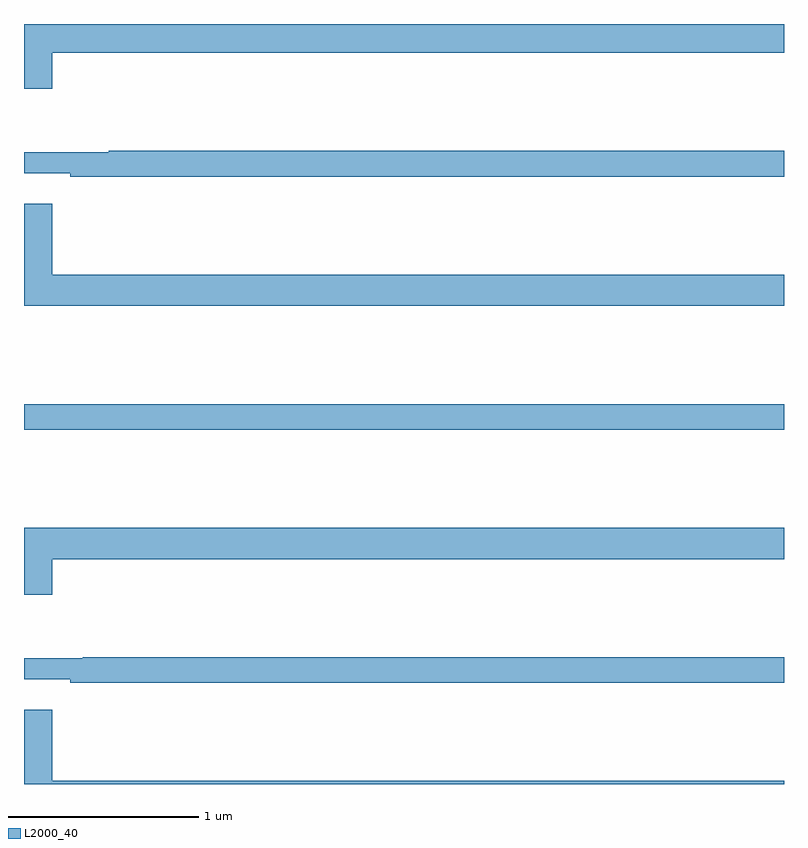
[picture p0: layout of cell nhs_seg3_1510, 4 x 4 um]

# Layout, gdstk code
import gdstk
lib = gdstk.Library(unit=1e-6, precision=1e-09)
def R(c, l, rs):  # rectangles x0, y0, x1, y1
    for r in rs: c.add(gdstk.rectangle(r[:2], r[2:], *l))
def P(c, l, *ps):  # polygons
    for p in ps: c.add(gdstk.Polygon(p, *l))
L2000_40 = (2000, 40)

nhs_seg3_1510 = lib.new_cell('nhs_seg3_1510')
R(nhs_seg3_1510, L2000_40, [(189,700.264,193,700.4)])
P(nhs_seg3_1510, L2000_40, [(189.148,702.248),(193,702.248),(193,702.4),(189,702.4),(189,702.06),(189.148,702.06)],
  [(193,701.732),(189.445,701.732),(189.445,701.725),(189,701.725),(189,701.615),(189.244,701.615),(189.244,701.596),(193,701.596)],
  [(193,701.08),(189.148,701.08),(189.148,701.455),(189,701.455),(189,700.916),(193,700.916)],
  [(189.148,699.584),(193,699.584),(193,699.748),(189,699.748),(189,699.396),(189.148,699.396)],
  [(193,699.068),(189.308,699.068),(189.308,699.061),(189,699.061),(189,698.951),(189.244,698.951),(189.244,698.932),(193,698.932)],
  [(193,698.416),(189.148,698.416),(189.148,698.791),(189,698.791),(189,698.4),(193,698.4)])

lib.write_gds('nhs_seg3_1510.gds')
